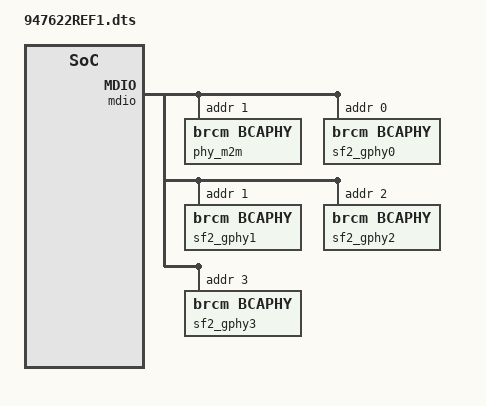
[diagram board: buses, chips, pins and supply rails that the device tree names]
#include "47622.dtsi"

/ {
    memory_controller {
        memcfg = <(BP_DDR_SPEED_1067_14_14_14 | \
                   BP_DDR_TOTAL_SIZE_512MB    | \
                   BP_DDR_DEVICE_WIDTH_16     | \
                   BP_DDR_TOTAL_WIDTH_16BIT   | \
                   BP_DDR_SSC_CONFIG_1)>;
    };

	buttons {
		compatible = "brcm,buttons";
		ses_button {
			ext_irq = <&bca_extintr 4 BCA_GPIO_ACTIVE_LOW (BCA_EXTINTR_TYPE_LOW_LEVEL | BCA_EXTINTR_TYPE_SENSE_EDGE)>;
			release {
				ses_short_period = <0>;
				ses_long_period = <3>;
			};
		};
	};

	switch_sf2:0 {
	};
};


&sysport {
	compatible = "brcm,bcmbca-systemport-v2.0";
	reg-names =
		"systemport-rbuf-base",
		"systemport-rdma-base",
		"systemport-tdma-base",
		"systemport-umac-base",
		"systemport-topctrl-base",
		"systemport1-rbuf-base",
		"systemport1-rdma-base",
		"systemport1-tdma-base",
		"systemport1-umac-base",
		"systemport1-topctrl-base",
		"systemport-switchmdio-base",
		"sphy-ctrl",
		"phy-test-ctrl";
	reg =   <0x80400400 0x14>,
			<0x80402000 0x1300>,
			<0x80404000 0x8ff>,
			<0x80400800 0x350>,
			<0x80400000 0x40>,
			<0x80500400 0x14>,
			<0x80502000 0x1300>,
			<0x80504000 0x8ff>,
			<0x80500800 0x350>,
			<0x80500000 0x40>,
			<0x80411300 0x10>,
			<0x804110c0 0x04>,
			<0x804110bc 0x04>;
	phy_base = <0x8>;
	phy_wkard_timeout = <25000>;
	ethsw = <&switch_sf2>;
};

&mdio {
	phy8:8 {
		status = "okay";
	};

	phy_m2m:m2m {
		compatible = "brcm,bcaphy";
		phy-type = "MAC2MAC";
		reg = <1>;
		status = "okay";
		phy-extswitch;
	};

	/* PHYs on external SF2 switch */
	sf2_gphy0:0 {
		compatible = "brcm,bcaphy";
		phy-type = "EGPHY";
		reg = <0>;
		status = "okay";
	};
	sf2_gphy1:1 {
		compatible = "brcm,bcaphy";
		phy-type = "EGPHY";
		reg = <1>;
		status = "okay";
	};
	sf2_gphy2:2 {
		compatible = "brcm,bcaphy";
		phy-type = "EGPHY";
		reg = <2>;
		status = "okay";
	};
	sf2_gphy3:3 {
		compatible = "brcm,bcaphy";
		phy-type = "EGPHY";
		reg = <3>;
		status = "okay";
	};
};

&switch_sf2 {                           /* linux/uboot: external sf2 */
	unit = <1>;
	sw-type = "SF2_SW";

	compatible = "brcm,bcmbca-extsw";
	pinctrl-0 = <&a_rgmii_mdc_pin_68 &a_rgmii_mdio_pin_69 &rgmii_pins >;
	pinctrl-names="default";
	reg-names ="parent-rgmii-ctrl",
	           "parent-gpio-pad-ctrl",
	           "parent-rgmii-select";
	reg = <0x80411020 0x40>,
	      <0xff800500 0x78>,
	      <0x80411004 0x04>;
	switch-reset = <&gpioc 10 GPIO_ACTIVE_LOW>;

	ports {
		#address-cells = <1>;
		#size-cells = <0>;

		sf2_port0@0 {
			phy-handle = <&sf2_gphy0>;
			reg = <0>;
			mac-type = "SF2MAC";
			phy-mode = "gmii";
			gmii-direct;
			status = "okay";
		};
		sf2_port1@1 {
			phy-handle = <&sf2_gphy1>;
			reg = <1>;
			mac-type = "SF2MAC";
			phy-mode = "gmii";
			gmii-direct;
			status = "okay";
		};
		sf2_port2@2 {
			phy-handle = <&sf2_gphy2>;
			reg = <2>;
			mac-type = "SF2MAC";
			phy-mode = "gmii";
			gmii-direct;
			status = "okay";
		};
		sf2_port3@3 {
			phy-handle = <&sf2_gphy3>;
			reg = <3>;
			mac-type = "SF2MAC";
			phy-mode = "gmii";
			gmii-direct;
			status = "okay";
		};
		sf2_port8@8 {
			management;                     /* sf2.p8 <--> sysp.p1 */
			reg = <8>;
			mac-type = "SF2MAC";
			shrink-ipg;
			phy-mode = "gmii";
			gmii-direct;
			status = "okay";
		};
	};
};

&switch0 {
	pinctrl-names = "default", "rgmii"; 
	pinctrl-0 = <&a_rgmii_mdc_pin_68 &a_rgmii_mdio_pin_69 &rgmii_pins>; 
	pinctrl-1 = <&rgmii_pins>; 

	ports {
		/* fixed port configuration */
		sysp_port0@0 {
			network-leds = <&led0>;
			phy-handle = <&phy8>;
			status = "okay";
		};
		sysp_port1@1 {
			phy-handle = <&phy_m2m>;
			mii-pinctrl-state = "rgmii";
			phy-mode = "rgmii";
			rgmii-3p3v;
			rx-delay;
			tx-delay;
			link = <&switch_sf2>;           /* sysp.p1 <--> sf2.p8 */
			shrink-ipg;
			status = "okay";
		};
	};
};

&legacy_leds {
	wl-sess-led = <&led2>;
	wl0-led = <&led3>;
	wl1-led = <&led4>;
};
&led_ctrl {
	led0: port_0-led-0-pin_0 {
		active_high;
		hardware_high;
		link = <(LED_SPEED_100|LED_SPEED_1G)>;
		status = "okay";
	};
	led1: port_0-led-3-pin_3 {
		active_low;
		hardware_led;
		activity = <LED_SPEED_GBE>;
		status = "okay";
	};
	led2: sw_led_01-pin_1 {
		software_led;
		active_low;
		status = "okay";
	};
	led3:led_gpio_7 {
		compatible = "brcm,gpio-led";
		software_led;
		pin = <7>;
		active_low;
	};
	led4:led_gpio_36 {
		compatible = "brcm,gpio-led";
		software_led;
		pin = <36>;
		active_low;
	};
};

